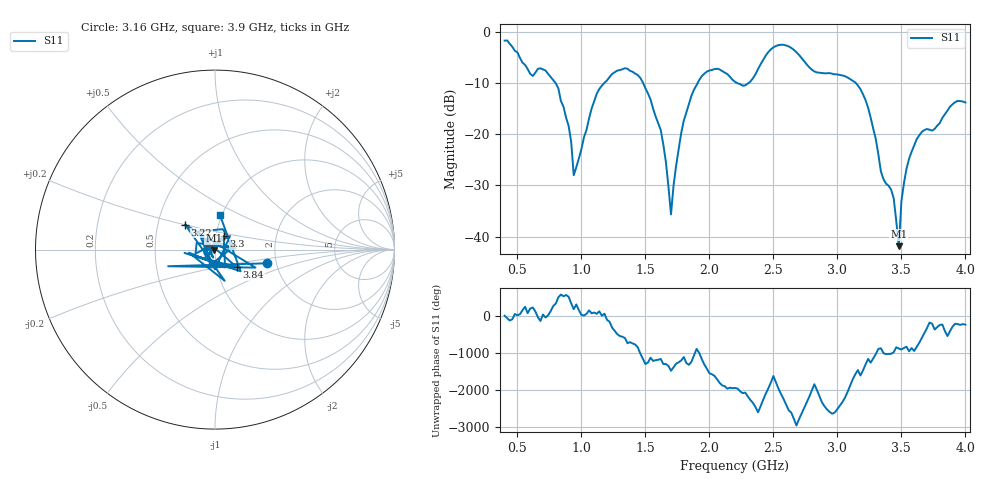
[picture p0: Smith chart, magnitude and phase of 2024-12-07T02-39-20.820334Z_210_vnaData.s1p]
!Created with skrf (http://scikit-rf.org).
# Hz S RI R 50.0
!freq ReS11 ImS11
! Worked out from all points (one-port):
!   181 points, 400 MHz to 4 GHz, reference 50 ohm
!   lowest |S11| = -41.9 dB at 3.48 GHz (marker M1), VSWR 1.02, Z = 49.3 - j0.394 ohm
!   |S11| at or under -10 dB: 799.5 MHz to 1.177 GHz (377 MHz wide, 38.2 % of centre); 1.483 GHz to 1.907 GHz (424 MHz wide, 25 % of centre); 3.146 GHz to end of sweep (the widest 3 of 4)
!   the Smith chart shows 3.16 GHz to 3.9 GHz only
!   S11 on the Smith chart (normalised r, x): 3.16 GHz: 1.79, -0.30; 3.22 GHz: 0.69, +0.20; 3.3 GHz: 1.09, +0.17; 3.84 GHz: 1.25, -0.25; 3.9 GHz: 0.97, +0.40
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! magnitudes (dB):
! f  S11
! 400 MHz  -1.7
! 620 MHz  -8.6
! 720 MHz  -7.5
! 860 MHz  -14.6
! 920 MHz  -21.4
! 940 MHz  -28.0
! 1.12 GHz  -12.0
! 1.3 GHz  -7.4
! 1.54 GHz  -13.1
! 1.62 GHz  -19.2
! 1.7 GHz  -35.7
! 1.76 GHz  -22.9
! 1.94 GHz  -8.6
! 2.2 GHz  -9.7
! 2.52 GHz  -2.7
! 2.66 GHz  -3.5
! 3.1 GHz  -9.2
! 3.16 GHz  -10.4
! 3.22 GHz  -13.3
! 3.3 GHz  -20.9
! 3.34 GHz  -27.3
! 3.44 GHz  -32.5
! 3.48 GHz  -41.9
! 3.5 GHz  -33.1
! 3.56 GHz  -24.8
! 3.84 GHz  -16.1
! 3.9 GHz  -14.1
! 4 GHz  -13.8
